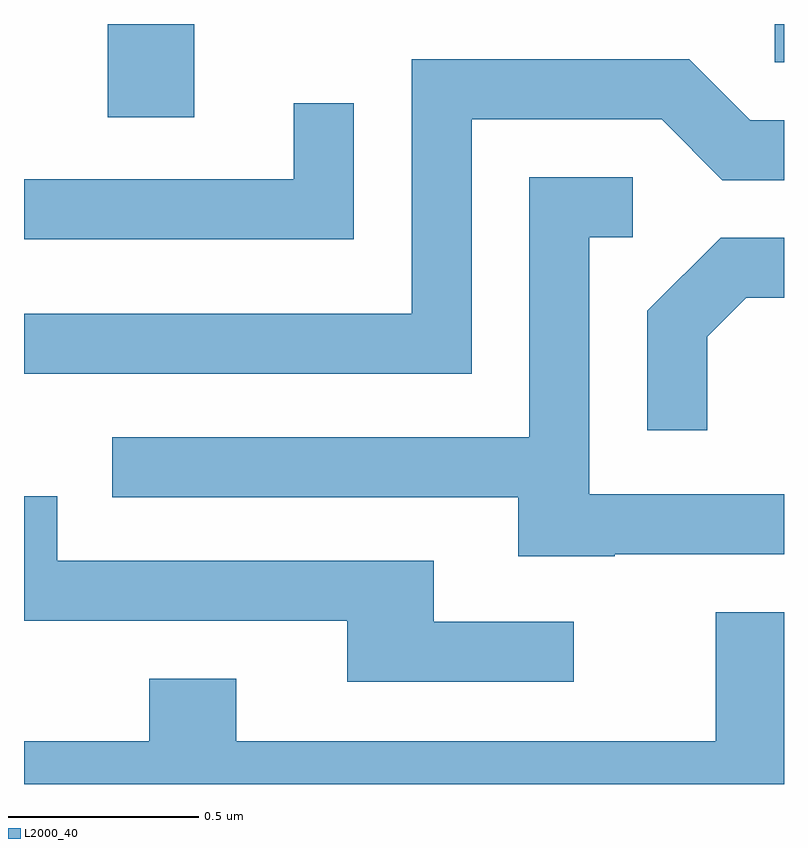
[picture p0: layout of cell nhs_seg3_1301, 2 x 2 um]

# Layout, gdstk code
import gdstk
lib = gdstk.Library(unit=1e-6, precision=1e-09)
def R(c, l, rs):  # rectangles x0, y0, x1, y1
    for r in rs: c.add(gdstk.rectangle(r[:2], r[2:], *l))
def P(c, l, *ps):  # polygons
    for p in ps: c.add(gdstk.Polygon(p, *l))
L2000_40 = (2000, 40)

nhs_seg3_1301 = lib.new_cell('nhs_seg3_1301')
R(nhs_seg3_1301, L2000_40, [(194.831,1185.646,195.059,1185.892), (196.586,1185.791,196.611,1185.892)])
P(nhs_seg3_1301, L2000_40, [(195.789,1185.641),(196.289,1185.641),(196.449,1185.481),(196.611,1185.481),(196.611,1185.639),(196.522,1185.639),(196.362,1185.799),(195.631,1185.799),(195.631,1185.129),(194.611,1185.129),(194.611,1184.971),(195.789,1184.971)],
  [(195.479,1185.683),(195.321,1185.683),(195.321,1185.484),(194.611,1185.484),(194.611,1185.326),(195.479,1185.326)],
  [(196.165,1184.496),(196.611,1184.496),(196.611,1184.654),(196.099,1184.654),(196.099,1185.331),(196.213,1185.331),(196.213,1185.489),(195.941,1185.489),(195.941,1184.804),(194.843,1184.804),(194.843,1184.646),(195.911,1184.646),(195.911,1184.491),(196.165,1184.491)],
  [(196.409,1185.069),(196.512,1185.171),(196.611,1185.171),(196.611,1185.329),(196.444,1185.329),(196.251,1185.137),(196.251,1184.823),(196.409,1184.823)],
  [(196.058,1184.319),(195.689,1184.319),(195.689,1184.479),(194.699,1184.479),(194.699,1184.649),(194.611,1184.649),(194.611,1184.321),(195.461,1184.321),(195.461,1184.161),(196.058,1184.161)],
  [(196.611,1184.344),(196.431,1184.344),(196.431,1184.004),(195.169,1184.004),(195.169,1184.169),(194.941,1184.169),(194.941,1184.004),(194.611,1184.004),(194.611,1183.892),(196.611,1183.892)])

lib.write_gds('nhs_seg3_1301.gds')
